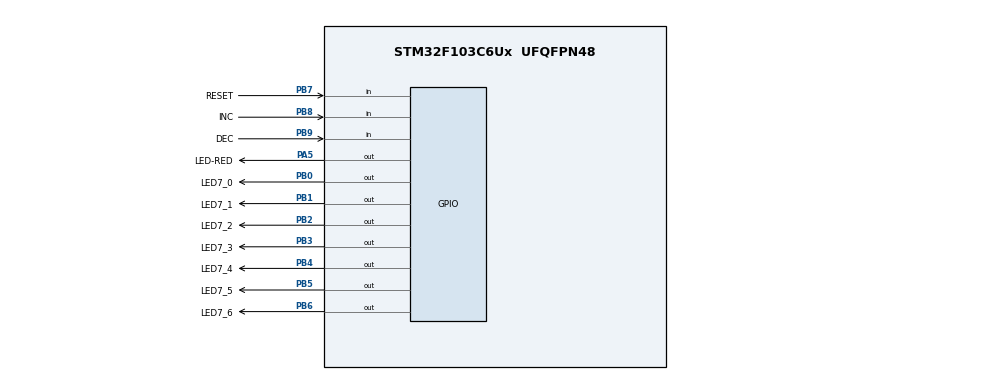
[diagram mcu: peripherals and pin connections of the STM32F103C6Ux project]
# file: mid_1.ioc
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Mcu.Family=STM32F1
Mcu.Name=STM32F103C6Ux
Mcu.Package=UFQFPN48
NVIC.PriorityGroup=NVIC_PRIORITYGROUP_4
NVIC.TIM2_IRQn=true\:0\:0\:false\:false\:true\:true\:true
PA5.GPIO_Label=LED-RED
PA5.Signal=GPIO_Output
PB0.GPIO_Label=LED7_0
PB0.Signal=GPIO_Output
PB1.GPIO_Label=LED7_1
PB1.Signal=GPIO_Output
PB2.GPIO_Label=LED7_2
PB2.Signal=GPIO_Output
PB3.GPIO_Label=LED7_3
PB3.Signal=GPIO_Output
PB4.GPIO_Label=LED7_4
PB4.Signal=GPIO_Output
PB5.GPIO_Label=LED7_5
PB5.Signal=GPIO_Output
PB6.GPIO_Label=LED7_6
PB6.Signal=GPIO_Output
PB7.GPIO_Label=RESET
PB7.GPIO_PuPd=GPIO_PULLUP
PB7.Signal=GPIO_Input
PB8.GPIO_Label=INC
PB8.GPIO_PuPd=GPIO_PULLUP
PB8.Signal=GPIO_Input
PB9.GPIO_Label=DEC
PB9.GPIO_PuPd=GPIO_PULLUP
PB9.Signal=GPIO_Input
ProjectManager.HeapSize=0x200
ProjectManager.StackSize=0x400
ProjectManager.TargetToolchain=STM32CubeIDE
RCC.APB1Freq_Value=8000000
RCC.APB2Freq_Value=8000000
TIM2.Period=9
TIM2.Prescaler=7999
VP_SYS_VS_ND.Mode=No_Debug
VP_TIM2_VS_ClockSourceINT.Mode=Internal
board=custom

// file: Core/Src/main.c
/* USER CODE BEGIN Header */
/**
  ******************************************************************************
  * @file           : main.c
  * @brief          : Main program body
  ******************************************************************************
  * @attention
  *
  * <h2><center>&copy; Copyright (c) 2022 STMicroelectronics.
  * All rights reserved.</center></h2>
  *
  * This software component is licensed by ST under BSD 3-Clause license,
  * the "License"; You may not use this file except in compliance with the
  * License. You may obtain a copy of the License at:
  *                        opensource.org/licenses/BSD-3-Clause
  *
  ******************************************************************************
  */
/* USER CODE END Header */
#include "main.h"

/* USER CODE BEGIN Includes */
#include "software_timer.h"
/* USER CODE END Includes */
#include "fsm_mid.h"

TIM_HandleTypeDef htim2;

void SystemClock_Config(void);
static void MX_GPIO_Init(void);
static void MX_TIM2_Init(void);

int main(void)
{

  /* MCU Configuration--------------------------------------------------------*/

  /* Reset of all peripherals, Initializes the Flash interface and the Systick. */
  HAL_Init();

  /* Configure the system clock */
  SystemClock_Config();

  /* Initialize all configured peripherals */
  MX_GPIO_Init();
  MX_TIM2_Init();
  /* USER CODE BEGIN 2 */
HAL_TIM_Base_Start_IT(&htim2);
  /* USER CODE END 2 */

  /* Infinite loop */
  /* USER CODE BEGIN WHILE */
int statusbut =init;
void fsm_simple_buttons_run(){
	switch (statusbut) {
			  		case init:
			  			statusbut = reset;
			  			display7SEG(0);
			  			break;
			  		case inc:
			  			isDecNor();
			  			isIncNor();
			  			isResetNor();
			  			long_press_inc();
			  			timer_out();
			  			break;
			  		case dec:
			  			isDecNor();
			  			isIncNor();
			  			isResetNor();
			  			long_press_dec();
			  			timer_out();
			  			break;
			  		case reset:
			  			isDecNor();
			  			isIncNor();
			  			isResetNor();
			  			timer_out();
			  			break;

			  		default:
			  			break;
			  	}

}
void long_press(){
	switch (statusbut) {
	case buttonLongdec:
			isDecNor();
			isIncNor();
			isResetNor();
			long_press_dec();
			timer_out();
				break;
	case buttonLonginc:
			isDecNor();
			isIncNor();
			isResetNor();
			long_press_inc();
			timer_out();
				 break;
		default:
			break;
	}
}
void timer_out_10s(){
	switch (statusbut) {
		case time_out:
			isDecNor();
			isIncNor();
			isResetNor();
			timer_out();
			break;
		default:
			break;
	}
}
Settimer1(1000);
//nho sua 500 thanh 1000
  while (1)
  {fsm_simple_buttons_run();
  long_press();
  timer_out_10s();

    /* USER CODE END WHILE */
if(Timer2_flag == 1){
	Settimer2(100);
	HAL_GPIO_TogglePin(LED_RED_GPIO_Port, LED_RED_Pin);
}
  }
}

void SystemClock_Config(void)
{
  RCC_OscInitTypeDef RCC_OscInitStruct = {0};
  RCC_ClkInitTypeDef RCC_ClkInitStruct = {0};

  /** Initializes the RCC Oscillators according to the specified parameters
  * in the RCC_OscInitTypeDef structure.
  */
  RCC_OscInitStruct.OscillatorType = RCC_OSCILLATORTYPE_HSI;
  RCC_OscInitStruct.HSIState = RCC_HSI_ON;
  RCC_OscInitStruct.HSICalibrationValue = RCC_HSICALIBRATION_DEFAULT;
  RCC_OscInitStruct.PLL.PLLState = RCC_PLL_NONE;
  if (HAL_RCC_OscConfig(&RCC_OscInitStruct) != HAL_OK)
  {
    Error_Handler();
  }
  /** Initializes the CPU, AHB and APB buses clocks
  */
  RCC_ClkInitStruct.ClockType = RCC_CLOCKTYPE_HCLK|RCC_CLOCKTYPE_SYSCLK
                              |RCC_CLOCKTYPE_PCLK1|RCC_CLOCKTYPE_PCLK2;
  RCC_ClkInitStruct.SYSCLKSource = RCC_SYSCLKSOURCE_HSI;
  RCC_ClkInitStruct.AHBCLKDivider = RCC_SYSCLK_DIV1;
  RCC_ClkInitStruct.APB1CLKDivider = RCC_HCLK_DIV1;
  RCC_ClkInitStruct.APB2CLKDivider = RCC_HCLK_DIV1;

  if (HAL_RCC_ClockConfig(&RCC_ClkInitStruct, FLASH_LATENCY_0) != HAL_OK)
  {
    Error_Handler();
  }
}

static void MX_TIM2_Init(void)
{

  TIM_ClockConfigTypeDef sClockSourceConfig = {0};
  TIM_MasterConfigTypeDef sMasterConfig = {0};

  htim2.Instance = TIM2;
  htim2.Init.Prescaler = 7999;
  htim2.Init.CounterMode = TIM_COUNTERMODE_UP;
  htim2.Init.Period = 9;
  htim2.Init.ClockDivision = TIM_CLOCKDIVISION_DIV1;
  htim2.Init.AutoReloadPreload = TIM_AUTORELOAD_PRELOAD_DISABLE;
  if (HAL_TIM_Base_Init(&htim2) != HAL_OK)
  {
    Error_Handler();
  }
  sClockSourceConfig.ClockSource = TIM_CLOCKSOURCE_INTERNAL;
  if (HAL_TIM_ConfigClockSource(&htim2, &sClockSourceConfig) != HAL_OK)
  {
    Error_Handler();
  }
  sMasterConfig.MasterOutputTrigger = TIM_TRGO_RESET;
  sMasterConfig.MasterSlaveMode = TIM_MASTERSLAVEMODE_DISABLE;
  if (HAL_TIMEx_MasterConfigSynchronization(&htim2, &sMasterConfig) != HAL_OK)
  {
    Error_Handler();
  }

}

static void MX_GPIO_Init(void)
{
  GPIO_InitTypeDef GPIO_InitStruct = {0};

  /* GPIO Ports Clock Enable */
  __HAL_RCC_GPIOA_CLK_ENABLE();
  __HAL_RCC_GPIOB_CLK_ENABLE();

  /*Configure GPIO pin Output Level */
  HAL_GPIO_WritePin(LED_RED_GPIO_Port, LED_RED_Pin, GPIO_PIN_RESET);

  /*Configure GPIO pin Output Level */
  HAL_GPIO_WritePin(GPIOB, LED7_0_Pin|LED7_1_Pin|LED7_2_Pin|LED7_3_Pin
                          |LED7_4_Pin|LED7_5_Pin|LED7_6_Pin, GPIO_PIN_RESET);

  /*Configure GPIO pin : LED_RED_Pin */
  GPIO_InitStruct.Pin = LED_RED_Pin;
  GPIO_InitStruct.Mode = GPIO_MODE_OUTPUT_PP;
  GPIO_InitStruct.Pull = GPIO_NOPULL;
  GPIO_InitStruct.Speed = GPIO_SPEED_FREQ_LOW;
  HAL_GPIO_Init(LED_RED_GPIO_Port, &GPIO_InitStruct);

  /*Configure GPIO pins : LED7_0_Pin LED7_1_Pin LED7_2_Pin LED7_3_Pin
                           LED7_4_Pin LED7_5_Pin LED7_6_Pin */
  GPIO_InitStruct.Pin = LED7_0_Pin|LED7_1_Pin|LED7_2_Pin|LED7_3_Pin
                          |LED7_4_Pin|LED7_5_Pin|LED7_6_Pin;
  GPIO_InitStruct.Mode = GPIO_MODE_OUTPUT_PP;
  GPIO_InitStruct.Pull = GPIO_NOPULL;
  GPIO_InitStruct.Speed = GPIO_SPEED_FREQ_LOW;
  HAL_GPIO_Init(GPIOB, &GPIO_InitStruct);

  /*Configure GPIO pins : RESET_Pin INC_Pin DEC_Pin */
  GPIO_InitStruct.Pin = RESET_Pin|INC_Pin|DEC_Pin;
  GPIO_InitStruct.Mode = GPIO_MODE_INPUT;
  GPIO_InitStruct.Pull = GPIO_PULLUP;
  HAL_GPIO_Init(GPIOB, &GPIO_InitStruct);

}

/* USER CODE BEGIN 4 */
void HAL_TIM_PeriodElapsedCallback(TIM_HandleTypeDef *htim){
	TimerRun();
	fsmTimerRun();
}
/* USER CODE END 4 */

void Error_Handler(void)
{
  __disable_irq();
  while (1)
  {
  }
}

/************************ (C) COPYRIGHT STMicroelectronics *****END OF FILE****/
